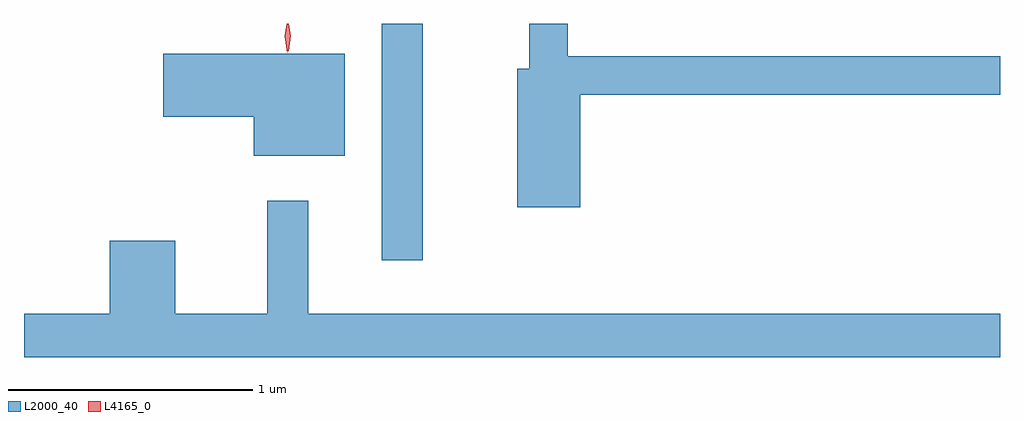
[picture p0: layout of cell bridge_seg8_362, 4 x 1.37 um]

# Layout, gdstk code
import gdstk
lib = gdstk.Library(unit=1e-6, precision=1e-09)
def R(c, l, rs):  # rectangles x0, y0, x1, y1
    for r in rs: c.add(gdstk.rectangle(r[:2], r[2:], *l))
def P(c, l, *ps):  # polygons
    for p in ps: c.add(gdstk.Polygon(p, *l))
L2000_40 = (2000, 40)
L4165_0 = (4165, 0)

bridge_seg8_362 = lib.new_cell('bridge_seg8_362')
R(bridge_seg8_362, L2000_40, [(735.671,1943.463,735.839,1944.432)])
P(bridge_seg8_362, L2000_40, [(736.484,1944.141),(738.205,1944.141),(738.205,1944.299),(736.434,1944.299),(736.434,1944.432),(736.276,1944.432),(736.276,1944.249),(736.226,1944.249),(736.226,1943.681),(736.484,1943.681)],
  [(735.519,1944.309),(734.776,1944.309),(734.776,1944.051),(735.146,1944.051),(735.146,1943.891),(735.519,1943.891)],
  [(738.205,1943.244),(735.369,1943.244),(735.369,1943.708),(735.201,1943.708),(735.201,1943.244),(734.824,1943.244),(734.824,1943.544),(734.556,1943.544),(734.556,1943.244),(734.205,1943.244),(734.205,1943.066),(738.205,1943.066)])
P(bridge_seg8_362, L4165_0, [(735.283,1944.314),(735.274,1944.382),(735.281,1944.432),(735.287,1944.432),(735.294,1944.382),(735.284,1944.314)],
  [(735.289,1944.32),(735.289,1944.321),(735.279,1944.384),(735.286,1944.432),(735.291,1944.432),(735.299,1944.384),(735.29,1944.321)])

lib.write_gds('bridge_seg8_362.gds')
